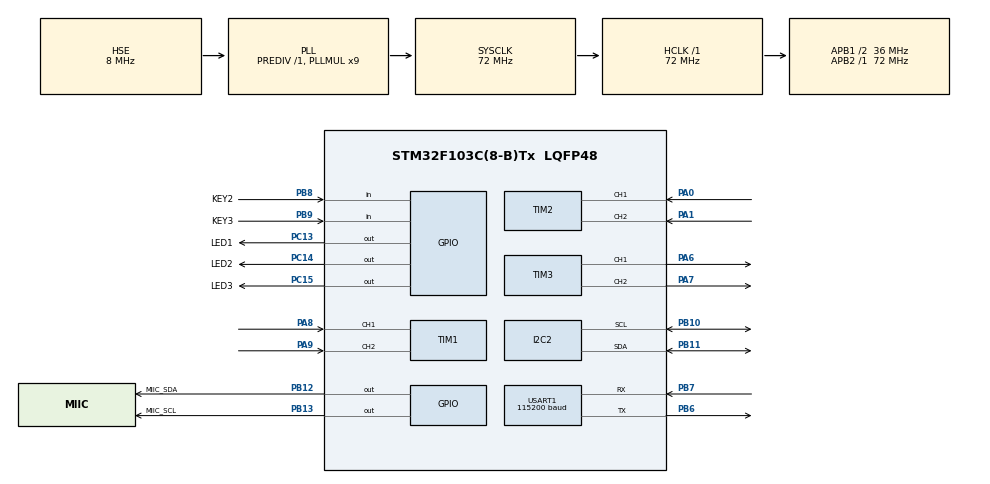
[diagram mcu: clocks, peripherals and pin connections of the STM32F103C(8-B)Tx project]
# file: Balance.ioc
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I2C2.I2C_Mode=I2C_Fast
Mcu.Family=STM32F1
Mcu.Name=STM32F103C(8-B)Tx
Mcu.Package=LQFP48
NVIC.PriorityGroup=NVIC_PRIORITYGROUP_4
NVIC.TIM4_IRQn=true\:3\:0\:true\:false\:true\:true\:true
NVIC.USART1_IRQn=true\:6\:0\:true\:false\:true\:true\:true
PA0-WKUP.Signal=S_TIM2_CH1_ETR
PA1.Signal=S_TIM2_CH2
PA13.Mode=Serial_Wire
PA13.Signal=SYS_JTMS-SWDIO
PA14.Mode=Serial_Wire
PA14.Signal=SYS_JTCK-SWCLK
PA6.Signal=S_TIM3_CH1
PA7.Signal=S_TIM3_CH2
PA8.Signal=S_TIM1_CH1
PA9.Signal=S_TIM1_CH2
PB10.Mode=I2C
PB10.Signal=I2C2_SCL
PB11.Mode=I2C
PB11.Signal=I2C2_SDA
PB12.GPIO_Label=MIIC_SDA
PB12.GPIO_PuPd=GPIO_PULLUP
PB12.GPIO_Speed=GPIO_SPEED_FREQ_HIGH
PB12.Signal=GPIO_Output
PB13.GPIO_Label=MIIC_SCL
PB13.GPIO_PuPd=GPIO_PULLUP
PB13.GPIO_Speed=GPIO_SPEED_FREQ_HIGH
PB13.Signal=GPIO_Output
PB6.Mode=Asynchronous
PB6.Signal=USART1_TX
PB7.Mode=Asynchronous
PB7.Signal=USART1_RX
PB8.GPIO_Label=KEY2
PB8.Signal=GPIO_Input
PB9.GPIO_Label=KEY3
PB9.Signal=GPIO_Input
PC13-TAMPER-RTC.GPIO_Label=LED1
PC13-TAMPER-RTC.GPIO_Speed=GPIO_SPEED_FREQ_LOW
PC13-TAMPER-RTC.PinState=GPIO_PIN_SET
PC13-TAMPER-RTC.Signal=GPIO_Output
PC14-OSC32_IN.GPIO_Label=LED2
PC14-OSC32_IN.GPIO_ModeDefaultOutputPP=GPIO_MODE_OUTPUT_PP
PC14-OSC32_IN.GPIO_Speed=GPIO_SPEED_FREQ_LOW
PC14-OSC32_IN.PinState=GPIO_PIN_SET
PC14-OSC32_IN.Signal=GPIO_Output
PC15-OSC32_OUT.GPIO_Label=LED3
PC15-OSC32_OUT.PinState=GPIO_PIN_SET
PC15-OSC32_OUT.Signal=GPIO_Output
PD0-OSC_IN.Mode=HSE-External-Oscillator
PD0-OSC_IN.Signal=RCC_OSC_IN
PD1-OSC_OUT.Mode=HSE-External-Oscillator
PD1-OSC_OUT.Signal=RCC_OSC_OUT
ProjectManager.HeapSize=0x1000
ProjectManager.StackSize=0x800
ProjectManager.TargetToolchain=MDK-ARM V5
RCC.AHBFreq_Value=72000000
RCC.APB1CLKDivider=RCC_HCLK_DIV2
RCC.APB1Freq_Value=36000000
RCC.APB1TimFreq_Value=72000000
RCC.APB2Freq_Value=72000000
RCC.APB2TimFreq_Value=72000000
RCC.HCLKFreq_Value=72000000
RCC.PLLMUL=RCC_PLL_MUL9
RCC.PLLSourceVirtual=RCC_PLLSOURCE_HSE
RCC.SYSCLKFreq_VALUE=72000000
RCC.SYSCLKSource=RCC_SYSCLKSOURCE_PLLCLK
RCC.USBFreq_Value=48000000
RCC.USBPrescaler=RCC_USBCLKSOURCE_PLL_DIV1_5
SH.S_TIM1_CH1.0=TIM1_CH1,Encoder_Interface
SH.S_TIM1_CH2.0=TIM1_CH2,Encoder_Interface
SH.S_TIM2_CH1_ETR.0=TIM2_CH1,Encoder_Interface
SH.S_TIM2_CH2.0=TIM2_CH2,Encoder_Interface
SH.S_TIM3_CH1.0=TIM3_CH1,PWM Generation1 CH1
SH.S_TIM3_CH2.0=TIM3_CH2,PWM Generation2 CH2
TIM3.Channel-PWM\ Generation1\ CH1=TIM_CHANNEL_1
TIM3.Channel-PWM\ Generation2\ CH2=TIM_CHANNEL_2
TIM4.Period=500-1
TIM4.Prescaler=720-12
USART1.BaudRate=115200
USART1.VirtualMode=VM_ASYNC
VP_TIM4_VS_ClockSourceINT.Mode=Internal
board=custom

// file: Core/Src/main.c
/* USER CODE BEGIN Header */
/**
  ******************************************************************************
  * @file           : main.c
  * @brief          : Main program body
  ******************************************************************************
  * @attention
  *
  * Copyright (c) 2022 STMicroelectronics.
  * All rights reserved.
  *
  * This software is licensed under terms that can be found in the LICENSE file
  * in the root directory of this software component.
  * If no LICENSE file comes with this software, it is provided AS-IS.
  *
  ******************************************************************************
  */
/* USER CODE END Header */
#include "main.h"
#include "i2c.h"
#include "tim.h"
#include "usart.h"
#include "gpio.h"

/* USER CODE BEGIN Includes */
#include "oled.h"
#include <stdlib.h>
#include <string.h>
#include "MPU6050.h"
/* USER CODE END Includes */

/* USER CODE BEGIN PTD */
uint8_t Flag_Stop=1,Flag_Show=0;
/* USER CODE END PTD */

void SystemClock_Config(void);

int main(void)
{

  /* MCU Configuration--------------------------------------------------------*/

  /* Reset of all peripherals, Initializes the Flash interface and the Systick. */
  HAL_Init();

  /* Configure the system clock */
  SystemClock_Config();

  /* Initialize all configured peripherals */
  MX_GPIO_Init();
  MX_TIM1_Init();
  MX_TIM2_Init();
  MX_TIM3_Init();
  MX_USART1_UART_Init();
  MX_I2C2_Init();
  MX_TIM4_Init();
  /* USER CODE BEGIN 2 */

	OLED_Init();
	HAL_Delay(200);
	MPU6050_initialize();
	DMP_Init();
	//启动定时器中断模式计数
	HAL_TIM_Base_Start_IT(&htim4);

	OLED_Clear();
	OLED_ShowString(0,0,(uint8_t *)"Roll:",16);
	OLED_ShowString(0,2,(uint8_t *)"Pitch:",16);
	OLED_ShowString(0,4,(uint8_t *)"Yaw:",16);

  /* USER CODE END 2 */

  /* Infinite loop */
  /* USER CODE BEGIN WHILE */
	HAL_GPIO_WritePin(GPIOC,LED2_Pin,GPIO_PIN_RESET);

  while (1)
  {
    /* USER CODE END WHILE */

    /* USER CODE BEGIN 3 */
	  if(oled_show_flag)
	  {
		OLED_ShowNum(40,0,Roll,4,16);
		OLED_ShowNum(40,2,Pitch,4,16);
		OLED_ShowNum(40,4,Yaw,4,16);
		oled_show_flag = 0;
	  }
//	  if(times_flag == 100)
//	  {
//		HAL_GPIO_TogglePin(GPIOC,LED2_Pin);
//		times_flag=0;
//	  }
  }
  /* USER CODE END 3 */
}

void SystemClock_Config(void)
{
  RCC_OscInitTypeDef RCC_OscInitStruct = {0};
  RCC_ClkInitTypeDef RCC_ClkInitStruct = {0};

  /** Initializes the RCC Oscillators according to the specified parameters
  * in the RCC_OscInitTypeDef structure.
  */
  RCC_OscInitStruct.OscillatorType = RCC_OSCILLATORTYPE_HSE;
  RCC_OscInitStruct.HSEState = RCC_HSE_ON;
  RCC_OscInitStruct.HSEPredivValue = RCC_HSE_PREDIV_DIV1;
  RCC_OscInitStruct.HSIState = RCC_HSI_ON;
  RCC_OscInitStruct.PLL.PLLState = RCC_PLL_ON;
  RCC_OscInitStruct.PLL.PLLSource = RCC_PLLSOURCE_HSE;
  RCC_OscInitStruct.PLL.PLLMUL = RCC_PLL_MUL9;
  if (HAL_RCC_OscConfig(&RCC_OscInitStruct) != HAL_OK)
  {
    Error_Handler();
  }
  /** Initializes the CPU, AHB and APB buses clocks
  */
  RCC_ClkInitStruct.ClockType = RCC_CLOCKTYPE_HCLK|RCC_CLOCKTYPE_SYSCLK
                              |RCC_CLOCKTYPE_PCLK1|RCC_CLOCKTYPE_PCLK2;
  RCC_ClkInitStruct.SYSCLKSource = RCC_SYSCLKSOURCE_PLLCLK;
  RCC_ClkInitStruct.AHBCLKDivider = RCC_SYSCLK_DIV1;
  RCC_ClkInitStruct.APB1CLKDivider = RCC_HCLK_DIV2;
  RCC_ClkInitStruct.APB2CLKDivider = RCC_HCLK_DIV1;

  if (HAL_RCC_ClockConfig(&RCC_ClkInitStruct, FLASH_LATENCY_2) != HAL_OK)
  {
    Error_Handler();
  }
}

void Error_Handler(void)
{
  __disable_irq();
  while (1)
  {
  }
}
